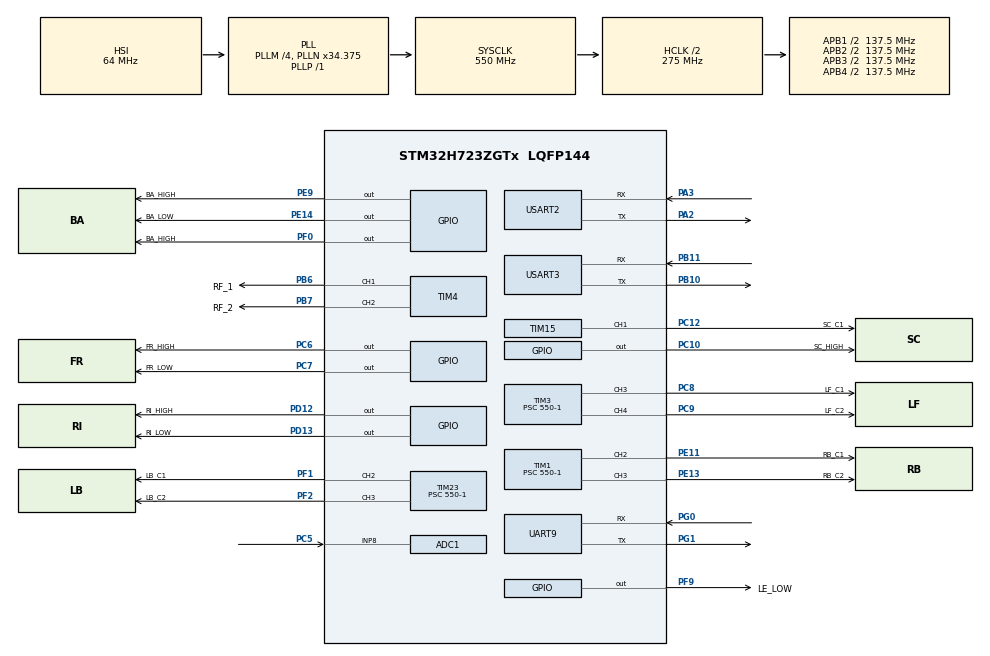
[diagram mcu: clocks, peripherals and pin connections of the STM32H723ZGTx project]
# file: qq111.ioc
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ADC1.Channel-1\#ChannelRegularConversion=ADC_CHANNEL_8
ADC1.NbrOfConversionFlag=1
ADC1.OffsetNumber-1\#ChannelRegularConversion=ADC_OFFSET_NONE
ADC1.OffsetSignedSaturation-1\#ChannelRegularConversion=DISABLE
ADC1.Rank-1\#ChannelRegularConversion=1
ADC1.SamplingTime-1\#ChannelRegularConversion=ADC_SAMPLETIME_1CYCLE_5
ADC1.master=1
CORTEX_M7.default_mode_Activation=1
Mcu.Family=STM32H7
Mcu.Name=STM32H723ZGTx
Mcu.Package=LQFP144
NVIC.PriorityGroup=NVIC_PRIORITYGROUP_4
NVIC.UART9_IRQn=true\:0\:0\:false\:false\:true\:true\:true\:true
NVIC.USART2_IRQn=true\:0\:0\:false\:false\:true\:true\:true\:true
NVIC.USART3_IRQn=true\:0\:0\:false\:false\:true\:true\:true\:true
PA2.Mode=Asynchronous
PA2.Signal=USART2_TX
PA3.Mode=Asynchronous
PA3.Signal=USART2_RX
PB10.Mode=Asynchronous
PB10.Signal=USART3_TX
PB11.Mode=Asynchronous
PB11.Signal=USART3_RX
PB6.GPIO_Label=RF_1
PB6.Signal=S_TIM4_CH1
PB7.GPIO_FM7=__NULL
PB7.GPIO_Label=RF_2
PB7.Signal=S_TIM4_CH2
PC10.GPIO_Label=SC_HIGH
PC10.GPIO_PuPd=GPIO_PULLDOWN
PC10.Signal=GPIO_Output
PC12.GPIO_Label=SC_C1
PC12.Signal=S_TIM15_CH1
PC5.Signal=ADCx_INP8
PC6.GPIO_Label=FR_HIGH
PC6.GPIO_PuPd=GPIO_PULLDOWN
PC6.Signal=GPIO_Output
PC7.GPIO_Label=FR_LOW
PC7.GPIO_PuPd=GPIO_PULLDOWN
PC7.Signal=GPIO_Output
PC8.GPIO_Label=LF_C1
PC8.Signal=S_TIM3_CH3
PC9.GPIO_Label=LF_C2
PC9.Signal=S_TIM3_CH4
PD12.GPIO_Label=RI_HIGH
PD12.GPIO_PuPd=GPIO_PULLDOWN
PD12.Signal=GPIO_Output
PD13.GPIO_Label=RI_LOW
PD13.GPIO_PuPd=GPIO_PULLDOWN
PD13.Signal=GPIO_Output
PE11.GPIO_Label=RB_C1
PE11.Signal=S_TIM1_CH2
PE13.GPIO_Label=RB_C2
PE13.Signal=S_TIM1_CH3
PE14.GPIO_Label=BA_LOW
PE14.GPIO_PuPd=GPIO_PULLDOWN
PE14.Signal=GPIO_Output
PE9.GPIO_Label=BA_HIGH
PE9.GPIO_PuPd=GPIO_PULLDOWN
PE9.Signal=GPIO_Output
PF0.GPIO_Label=BA_HIGH
PF0.GPIO_PuPd=GPIO_PULLDOWN
PF0.Signal=GPIO_Output
PF1.GPIO_Label=LB_C1
PF1.Signal=S_TIM23_CH2
PF2.GPIO_Label=LB_C2
PF2.Signal=S_TIM23_CH3
PF9.GPIO_Label=LE_LOW
PF9.GPIO_PuPd=GPIO_PULLDOWN
PF9.Signal=GPIO_Output
PG0.Mode=Asynchronous
PG0.Signal=UART9_RX
PG1.Mode=Asynchronous
PG1.Signal=UART9_TX
PH0-OSC_IN.Mode=HSE-External-Oscillator
PH0-OSC_IN.Signal=RCC_OSC_IN
PH1-OSC_OUT.Mode=HSE-External-Oscillator
PH1-OSC_OUT.Signal=RCC_OSC_OUT
ProjectManager.HeapSize=0x200
ProjectManager.StackSize=0x400
ProjectManager.TargetToolchain=MDK-ARM V5.32
RCC.ADCFreq_Value=129000000
RCC.APB1Freq_Value=137500000
RCC.APB2Freq_Value=137500000
RCC.APB3Freq_Value=137500000
RCC.APB4Freq_Value=137500000
RCC.CortexFreq_Value=550000000
RCC.D1PPRE=RCC_APB3_DIV2
RCC.D2PPRE1=RCC_APB1_DIV2
RCC.D2PPRE2=RCC_APB2_DIV2
RCC.D3PPRE=RCC_APB4_DIV2
RCC.DIVM1=4
RCC.DIVN1=34
RCC.DIVP1=1
RCC.HCLKFreq_Value=275000000
RCC.HPRE=RCC_HCLK_DIV2
RCC.PLL2FRACN=0
RCC.PLL3FRACN=0
RCC.PLLFRACN=3072
RCC.SYSCLKFreq_VALUE=550000000
RCC.SYSCLKSource=RCC_SYSCLKSOURCE_PLLCLK
RCC.USBFreq_Value=275000000
SH.ADCx_INP8.0=ADC1_INP8,IN8-Single-Ended
SH.S_TIM15_CH1.0=TIM15_CH1,PWM Generation1 CH1
SH.S_TIM1_CH2.0=TIM1_CH2,PWM Generation2 CH2
SH.S_TIM1_CH3.0=TIM1_CH3,PWM Generation3 CH3
SH.S_TIM23_CH2.0=TIM23_CH2,PWM Generation2 CH2
SH.S_TIM23_CH3.0=TIM23_CH3,PWM Generation3 CH3
SH.S_TIM3_CH3.0=TIM3_CH3,PWM Generation3 CH3
SH.S_TIM3_CH4.0=TIM3_CH4,PWM Generation4 CH4
SH.S_TIM4_CH1.0=TIM4_CH1,PWM Generation1 CH1
SH.S_TIM4_CH2.0=TIM4_CH2,PWM Generation2 CH2
TIM1.Channel-PWM\ Generation2\ CH2=TIM_CHANNEL_2
TIM1.Channel-PWM\ Generation3\ CH3=TIM_CHANNEL_3
TIM1.Period=1000
TIM1.Prescaler=550-1
TIM15.Channel-PWM\ Generation1\ CH1=TIM_CHANNEL_1
TIM15.Period=1000
TIM15.Prescaler=550-1
TIM23.Channel-PWM\ Generation2\ CH2=TIM_CHANNEL_2
TIM23.Channel-PWM\ Generation3\ CH3=TIM_CHANNEL_3
TIM23.Period=1000
TIM23.Prescaler=550-1
TIM3.Channel-PWM\ Generation3\ CH3=TIM_CHANNEL_3
TIM3.Channel-PWM\ Generation4\ CH4=TIM_CHANNEL_4
TIM3.Period=1000
TIM3.Prescaler=550-1
TIM4.Channel-PWM\ Generation1\ CH1=TIM_CHANNEL_1
TIM4.Channel-PWM\ Generation2\ CH2=TIM_CHANNEL_2
TIM4.Pulse-PWM\ Generation1\ CH1=50
TIM4.Pulse-PWM\ Generation2\ CH2=50
USART2.VirtualMode-Asynchronous=VM_ASYNC
USART3.VirtualMode-Asynchronous=VM_ASYNC
VP_MEMORYMAP_VS_MEMORYMAP.Mode=CurAppReg
board=custom

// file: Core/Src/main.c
/* USER CODE BEGIN Header */
/**
  ******************************************************************************
  * @file           : main.c
  * @brief          : Main program body
  ******************************************************************************
  * @attention
  *
  * Copyright (c) 2024 STMicroelectronics.
  * All rights reserved.
  *
  * This software is licensed under terms that can be found in the LICENSE file
  * in the root directory of this software component.
  * If no LICENSE file comes with this software, it is provided AS-IS.
  *
  ******************************************************************************
  */
/* USER CODE END Header */
#include "main.h"
#include "adc.h"
#include "memorymap.h"
#include "tim.h"
#include "usart.h"
#include "gpio.h"

/* USER CODE BEGIN Includes */
#include "motor.h"
#include "esp8266.h"
#include "onenet.h"
#include "ctrl.h"
#include <stdint.h>
/* USER CODE END Includes */

/* USER CODE BEGIN PV */
extern unsigned char esp8266_buf[512];
extern unsigned char data[2];
extern int i;
extern unsigned char esp8266_data[2];

extern int qyvalue;
int qyflag;
uint8_t detect[1];
/* USER CODE END PV */

void SystemClock_Config(void);
static void MPU_Config(void);

int main(void)
{

  /* USER CODE BEGIN 1 */
	unsigned short timeCount = 0;	//发送间隔变量

	unsigned char *dataPtr = NULL;
  /* USER CODE END 1 */

  /* MPU Configuration--------------------------------------------------------*/
  MPU_Config();

  /* MCU Configuration--------------------------------------------------------*/

  /* Reset of all peripherals, Initializes the Flash interface and the Systick. */
  HAL_Init();

  /* Configure the system clock */
  SystemClock_Config();

  /* USER CODE BEGIN SysInit */
    qyflag=0;
    uint32_t i=0;
  /* USER CODE END SysInit */

  /* Initialize all configured peripherals */
  MX_GPIO_Init();
  MX_ADC1_Init();
  MX_TIM1_Init();
  MX_TIM4_Init();
  MX_TIM23_Init();
  MX_UART9_Init();
  MX_USART3_UART_Init();
  MX_TIM3_Init();
  MX_USART2_UART_Init();
  MX_TIM15_Init();
  /* USER CODE BEGIN 2 */
	HAL_Delay(500);
	cot_init();
	motortest();
	//set_PWM_DutyCycle(&htim1, TIM_CHANNEL_3, 80);

		//HAL_UART_Receive_IT(&huart9, &esp8266_data[0], 1);

	//set_PWM_DutyCycle(&htim1, TIM_CHANNEL_3, 80);
/*
	ESP8266_Init();//stuck

	HAL_UART_Printf(USART_DEBUG, "Connect MQTT Server Success\r\n");

	while(OneNet_DevLink())			//接入OneNET
		HAL_Delay(500);
				OneNET_Subscribe();
	//zd();
	*/
  /* USER CODE END 2 */

  /* Infinite loop */
  /* USER CODE BEGIN WHILE */
  while (1)
  {
		HAL_UART_Receive_IT(&huart3,detect,1);
		//HAL_UART_Receive_IT(&huart3,detect,1);

		if(++timeCount >= 100)
{
//		uint32_t adc = ADC_Read();
//HAL_UART_Printf(USART_DEBUG, "%d\r\n",adc);
			OneNet_SendData();									//发送数据

			timeCount = 0;
			ESP8266_Clear();

				if(qyflag==1)
				{i++;
					if(i<=10)
				qyvalue+=(rand1() % 50) + 51;
					else
				qyvalue+=(rand1() % 50);

				}

			//HAL_UART_Printf(USART_DEBUG, "%d\r\n",qyvalue);

}

		dataPtr = ESP8266_GetIPD(0);
		if(dataPtr != NULL)
			OneNet_RevPro(dataPtr);

		HAL_Delay(10);

    /* USER CODE END WHILE */

  }
}

void SystemClock_Config(void)
{
  RCC_OscInitTypeDef RCC_OscInitStruct = {0};
  RCC_ClkInitTypeDef RCC_ClkInitStruct = {0};

  /** Supply configuration update enable
  */
  HAL_PWREx_ConfigSupply(PWR_LDO_SUPPLY);

  /** Configure the main internal regulator output voltage
  */
  __HAL_PWR_VOLTAGESCALING_CONFIG(PWR_REGULATOR_VOLTAGE_SCALE0);

  while(!__HAL_PWR_GET_FLAG(PWR_FLAG_VOSRDY)) {}

  /** Initializes the RCC Oscillators according to the specified parameters
  * in the RCC_OscInitTypeDef structure.
  */
  RCC_OscInitStruct.OscillatorType = RCC_OSCILLATORTYPE_HSI;
  RCC_OscInitStruct.HSIState = RCC_HSI_DIV1;
  RCC_OscInitStruct.HSICalibrationValue = 64;
  RCC_OscInitStruct.PLL.PLLState = RCC_PLL_ON;
  RCC_OscInitStruct.PLL.PLLSource = RCC_PLLSOURCE_HSI;
  RCC_OscInitStruct.PLL.PLLM = 4;
  RCC_OscInitStruct.PLL.PLLN = 34;
  RCC_OscInitStruct.PLL.PLLP = 1;
  RCC_OscInitStruct.PLL.PLLQ = 2;
  RCC_OscInitStruct.PLL.PLLR = 2;
  RCC_OscInitStruct.PLL.PLLRGE = RCC_PLL1VCIRANGE_3;
  RCC_OscInitStruct.PLL.PLLVCOSEL = RCC_PLL1VCOWIDE;
  RCC_OscInitStruct.PLL.PLLFRACN = 3072;
  if (HAL_RCC_OscConfig(&RCC_OscInitStruct) != HAL_OK)
  {
    Error_Handler();
  }

  /** Initializes the CPU, AHB and APB buses clocks
  */
  RCC_ClkInitStruct.ClockType = RCC_CLOCKTYPE_HCLK|RCC_CLOCKTYPE_SYSCLK
                              |RCC_CLOCKTYPE_PCLK1|RCC_CLOCKTYPE_PCLK2
                              |RCC_CLOCKTYPE_D3PCLK1|RCC_CLOCKTYPE_D1PCLK1;
  RCC_ClkInitStruct.SYSCLKSource = RCC_SYSCLKSOURCE_PLLCLK;
  RCC_ClkInitStruct.SYSCLKDivider = RCC_SYSCLK_DIV1;
  RCC_ClkInitStruct.AHBCLKDivider = RCC_HCLK_DIV2;
  RCC_ClkInitStruct.APB3CLKDivider = RCC_APB3_DIV2;
  RCC_ClkInitStruct.APB1CLKDivider = RCC_APB1_DIV2;
  RCC_ClkInitStruct.APB2CLKDivider = RCC_APB2_DIV2;
  RCC_ClkInitStruct.APB4CLKDivider = RCC_APB4_DIV2;

  if (HAL_RCC_ClockConfig(&RCC_ClkInitStruct, FLASH_LATENCY_3) != HAL_OK)
  {
    Error_Handler();
  }
}

 /* MPU Configuration */

void MPU_Config(void)
{
  MPU_Region_InitTypeDef MPU_InitStruct = {0};

  /* Disables the MPU */
  HAL_MPU_Disable();

  /** Initializes and configures the Region and the memory to be protected
  */
  MPU_InitStruct.Enable = MPU_REGION_ENABLE;
  MPU_InitStruct.Number = MPU_REGION_NUMBER0;
  MPU_InitStruct.BaseAddress = 0x0;
  MPU_InitStruct.Size = MPU_REGION_SIZE_4GB;
  MPU_InitStruct.SubRegionDisable = 0x87;
  MPU_InitStruct.TypeExtField = MPU_TEX_LEVEL0;
  MPU_InitStruct.AccessPermission = MPU_REGION_NO_ACCESS;
  MPU_InitStruct.DisableExec = MPU_INSTRUCTION_ACCESS_DISABLE;
  MPU_InitStruct.IsShareable = MPU_ACCESS_SHAREABLE;
  MPU_InitStruct.IsCacheable = MPU_ACCESS_NOT_CACHEABLE;
  MPU_InitStruct.IsBufferable = MPU_ACCESS_NOT_BUFFERABLE;

  HAL_MPU_ConfigRegion(&MPU_InitStruct);
  /* Enables the MPU */
  HAL_MPU_Enable(MPU_PRIVILEGED_DEFAULT);

}

void Error_Handler(void)
{
  __disable_irq();
  while (1)
  {
  }
}
